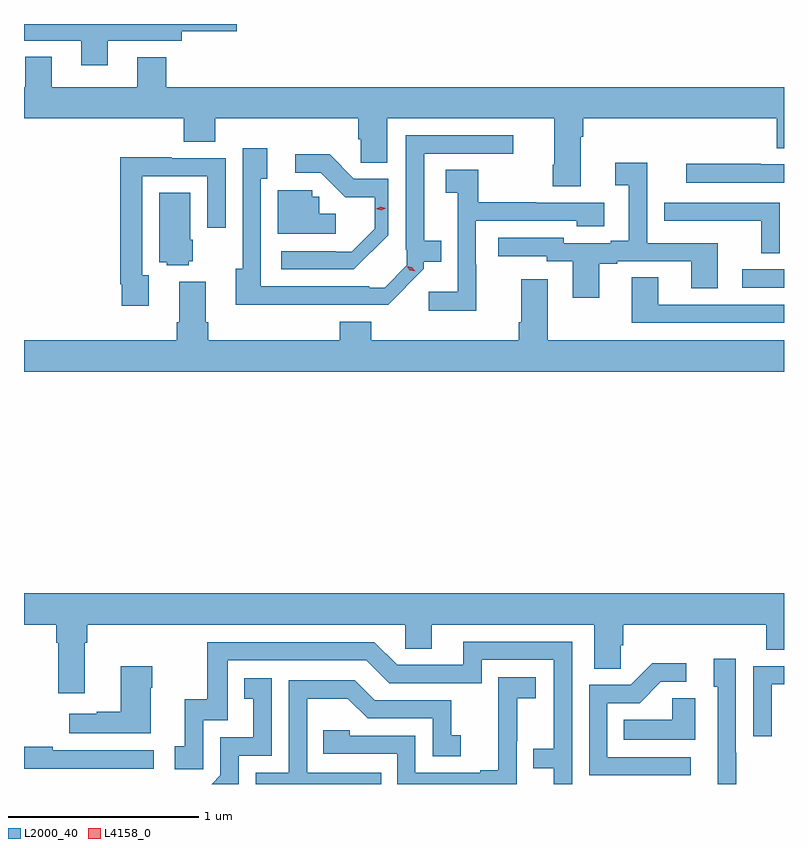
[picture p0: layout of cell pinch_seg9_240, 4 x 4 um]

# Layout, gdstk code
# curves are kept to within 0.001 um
import gdstk
lib = gdstk.Library(unit=1e-6, precision=1e-09)
def R(c, l, rs):  # rectangles x0, y0, x1, y1
    for r in rs: c.add(gdstk.rectangle(r[:2], r[2:], *l))
def P(c, l, *ps):  # polygons
    for p in ps: c.add(gdstk.Polygon(p, *l))
L2000_40 = (2000, 40)
L4158_0 = (4158, 0)

pinch_seg9_240 = lib.new_cell('pinch_seg9_240')
R(pinch_seg9_240, L2000_40, [(413.481,1242.15,413.702,1242.246)])
P(pinch_seg9_240, L2000_40, [(410.143,1243.448),(410.533,1243.448),(410.533,1243.498),(410.821,1243.498),(410.821,1243.537),(409.702,1243.537),(409.702,1243.449),(410.003,1243.449),(410.003,1243.32),(410.143,1243.32)],
  [(410.543,1242.916),(410.708,1242.916),(410.708,1243.04),(411.461,1243.04),(411.461,1242.93),(411.475,1242.93),(411.475,1242.808),(411.613,1242.808),(411.613,1243.04),(412.493,1243.04),(412.493,1242.796),(412.486,1242.796),(412.486,1242.684),(412.633,1242.684),(412.633,1242.944),(412.646,1242.944),(412.646,1243.04),(413.663,1243.04),(413.663,1242.883),(413.702,1242.883),(413.702,1243.204),(410.45,1243.204),(410.45,1243.363),(410.297,1243.363),(410.297,1243.204),(409.849,1243.204),(409.849,1243.364),(409.709,1243.364),(409.709,1243.204),(409.702,1243.204),(409.702,1243.04),(410.543,1243.04)],
  [(411.281,1242.06),(411.618,1242.06),(411.807,1242.249),(411.807,1242.287),(411.899,1242.287),(411.899,1242.397),(411.808,1242.397),(411.808,1242.855),(412.276,1242.855),(412.276,1242.951),(411.711,1242.951),(411.711,1242.348),(411.717,1242.348),(411.717,1242.267),(411.6,1242.15),(411.519,1242.15),(411.519,1242.156),(410.949,1242.156),(410.949,1242.722),(410.983,1242.722),(410.983,1242.883),(410.853,1242.883),(410.853,1242.25),(410.816,1242.25),(410.816,1242.059)],
  [(411.618,1242.426),(411.618,1242.723),(411.438,1242.723),(411.31,1242.851),(411.129,1242.851),(411.129,1242.753),(411.264,1242.753),(411.392,1242.626),(411.547,1242.626),(411.547,1242.46),(411.426,1242.339),(411.343,1242.339),(411.343,1242.342),(411.057,1242.342),(411.057,1242.246),(411.438,1242.246)],
  [(410.359,1242.215),(410.325,1242.215),(410.325,1242.735),(410.667,1242.735),(410.667,1242.465),(410.763,1242.465),(410.763,1242.831),(410.479,1242.831),(410.479,1242.835),(410.209,1242.835),(410.209,1242.166),(410.217,1242.166),(410.217,1242.054),(410.359,1242.054)],
  [(412.729,1242.276),(412.825,1242.276),(412.825,1242.288),(413.213,1242.288),(413.213,1242.145),(413.353,1242.145),(413.353,1242.384),(412.983,1242.384),(412.983,1242.808),(412.815,1242.808),(412.815,1242.688),(412.886,1242.688),(412.886,1242.397),(412.79,1242.397),(412.79,1242.384),(412.542,1242.384),(412.542,1242.411),(412.197,1242.411),(412.197,1242.315),(412.452,1242.315),(412.452,1242.288),(412.589,1242.288),(412.589,1242.096),(412.729,1242.096)],
  [(413.702,1242.798),(413.579,1242.798),(413.579,1242.801),(413.187,1242.801),(413.187,1242.702),(413.702,1242.702)],
  [(412.083,1242.269),(412.08,1242.269),(412.08,1242.501),(412.611,1242.501),(412.611,1242.473),(412.756,1242.473),(412.756,1242.597),(412.397,1242.597),(412.397,1242.6),(412.093,1242.6),(412.093,1242.77),(411.921,1242.77),(411.921,1242.649),(411.984,1242.649),(411.984,1242.127),(411.831,1242.127),(411.831,1242.029),(412.083,1242.029)],
  [(411.343,1242.538),(411.255,1242.538),(411.255,1242.627),(411.219,1242.627),(411.219,1242.663),(411.038,1242.663),(411.038,1242.434),(411.343,1242.434)],
  [(410.568,1242.288),(410.59,1242.288),(410.59,1242.402),(410.578,1242.402),(410.578,1242.65),(410.414,1242.65),(410.414,1242.284),(410.454,1242.284),(410.454,1242.266),(410.568,1242.266)],
  [(413.679,1242.597),(413.073,1242.597),(413.073,1242.502),(413.185,1242.502),(413.185,1242.501),(413.581,1242.501),(413.581,1242.331),(413.679,1242.331)],
  [(413.702,1242.06),(413.041,1242.06),(413.041,1242.203),(412.901,1242.203),(412.901,1241.964),(413.702,1241.964)],
  [(413.702,1241.872),(412.459,1241.872),(412.459,1242.193),(412.319,1242.193),(412.319,1241.968),(412.307,1241.968),(412.307,1241.872),(411.53,1241.872),(411.53,1241.971),(411.365,1241.971),(411.365,1241.872),(410.672,1241.872),(410.672,1241.968),(410.659,1241.968),(410.659,1242.181),(410.519,1242.181),(410.519,1241.968),(410.507,1241.968),(410.507,1241.872),(409.702,1241.872),(409.702,1241.708),(413.702,1241.708)],
  [(410.023,1240.28),(410.036,1240.28),(410.036,1240.376),(411.708,1240.376),(411.708,1240.249),(411.847,1240.249),(411.847,1240.376),(412.703,1240.376),(412.703,1240.144),(412.842,1240.144),(412.842,1240.267),(412.856,1240.267),(412.856,1240.376),(413.609,1240.376),(413.609,1240.243),(413.702,1240.243),(413.702,1240.54),(409.702,1240.54),(409.702,1240.376),(409.871,1240.376),(409.871,1240.28),(409.883,1240.28),(409.883,1240.014),(410.023,1240.014)],
  [(412.587,1240.287),(412.013,1240.287),(412.013,1240.164),(411.666,1240.164),(411.546,1240.284),(410.667,1240.284),(410.667,1239.982),(410.549,1239.982),(410.549,1239.735),(410.496,1239.735),(410.496,1239.615),(410.646,1239.615),(410.646,1239.873),(410.775,1239.873),(410.775,1240.188),(411.504,1240.188),(411.624,1240.068),(412.11,1240.068),(412.11,1240.191),(412.491,1240.191),(412.491,1239.722),(412.381,1239.722),(412.381,1239.621),(412.491,1239.621),(412.491,1239.537),(412.587,1239.537)],
  [(413.451,1239.701),(413.448,1239.701),(413.448,1240.195),(413.333,1240.195),(413.333,1240.05),(413.352,1240.05),(413.352,1239.537),(413.451,1239.537)],
  [(413.212,1239.678),(412.773,1239.678),(412.773,1239.963),(412.942,1239.963),(413.053,1240.074),(413.188,1240.074),(413.188,1240.172),(413.009,1240.172),(412.896,1240.059),(412.677,1240.059),(412.677,1239.582),(413.212,1239.582)],
  [(413.637,1240.062),(413.702,1240.062),(413.702,1240.158),(413.541,1240.158),(413.541,1239.789),(413.637,1239.789)],
  [(410.368,1240.043),(410.376,1240.043),(410.376,1240.156),(410.21,1240.156),(410.21,1239.917),(410.084,1239.917),(410.084,1239.907),(409.941,1239.907),(409.941,1239.803),(410.368,1239.803)],
  [(412.296,1239.761),(412.298,1239.761),(412.298,1239.989),(412.396,1239.989),(412.396,1240.099),(412.198,1240.099),(412.198,1239.893),(412.199,1239.893),(412.199,1239.61),(412.103,1239.61),(412.103,1239.597),(411.762,1239.597),(411.762,1239.792),(411.417,1239.792),(411.417,1239.819),(411.277,1239.819),(411.277,1239.696),(411.666,1239.696),(411.666,1239.537),(412.296,1239.537)],
  [(410.832,1239.687),(411.006,1239.687),(411.006,1240.093),(410.86,1240.093),(410.86,1239.987),(410.909,1239.987),(410.909,1239.783),(410.736,1239.783),(410.736,1239.582),(410.691,1239.537),(410.832,1239.537)],
  [(411.581,1239.597),(411.192,1239.597),(411.192,1239.986),(411.406,1239.986),(411.51,1239.882),(411.852,1239.882),(411.852,1239.684),(412,1239.684),(412,1239.793),(411.951,1239.793),(411.951,1239.978),(411.547,1239.978),(411.442,1240.083),(411.096,1240.083),(411.096,1239.597),(410.922,1239.597),(410.922,1239.537),(411.581,1239.537)],
  [(413.236,1239.989),(413.115,1239.989),(413.115,1239.874),(412.858,1239.874),(412.858,1239.77),(413.236,1239.77)],
  [(410.386,1239.714),(409.853,1239.714),(409.853,1239.734),(409.702,1239.734),(409.702,1239.618),(410.386,1239.618)])
P(pinch_seg9_240, L4158_0, [(411.76,1242.236),(411.733,1242.241),(411.716,1242.262),(411.716,1242.263),(411.716,1242.263),(411.743,1242.258),(411.76,1242.236),(411.76,1242.236)],
  [(411.581,1242.556),(411.556,1242.565),(411.555,1242.565),(411.556,1242.565),(411.58,1242.576),(411.606,1242.568),(411.606,1242.568),(411.606,1242.567)])

lib.write_gds('pinch_seg9_240.gds')
